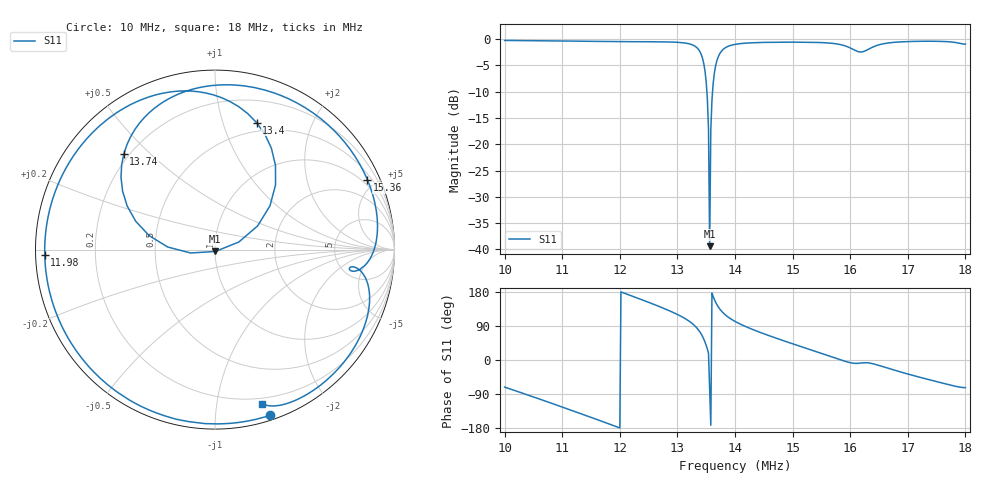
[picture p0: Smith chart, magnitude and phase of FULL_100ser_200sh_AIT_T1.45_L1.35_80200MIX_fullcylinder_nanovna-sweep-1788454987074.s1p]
! NanoVNA Web complex sweep
! Processing: original sample grid, no browser smoothing
# Hz S RI R 50
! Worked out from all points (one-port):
!   401 points, 10 MHz to 18 MHz, reference 50 ohm
!   lowest |S11| = -39.4 dB at 13.56 MHz (marker M1), VSWR 1.02, Z = 50.2 - j1.06 ohm
!   |S11| at or under -10 dB: 13.51 MHz to 13.61 MHz (98.66 kHz wide, 0.728 % of centre)
!   S11 on the Smith chart (normalised r, x): 10 MHz: 0.04, -1.39; 11.98 MHz: 0.03, -0.02; 13.4 MHz: 0.41, +1.30; 13.74 MHz: 0.18, +0.42; 15.36 MHz: 0.74, +4.48; 18 MHz: 0.15, -1.34
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1e7  0.308 -0.9232
1.05e7  -0.1259 -0.9615
1.1e7  -0.5396 -0.7973
1.152e7  -0.8464 -0.4412
1.198e7  -0.9487 -0.0321
1.2e7  -0.9489 -0.0134
1.252e7  -0.8281 0.458
1.3e7  -0.4706 0.8082
1.326e7  -0.0922 0.8795
1.34e7  0.2314 0.7077
1.348e7  0.3373 0.3605
1.35e7  0.3062 0.2437
1.352e7  0.2377 0.1322
1.356e7  0.00192 -0.0106
1.36e7  -0.2632 0.0142
1.362e7  -0.3663 0.0775
1.364e7  -0.4412 0.1572
1.374e7  -0.5082 0.532
1.386e7  -0.3664 0.7629
1.4e7  -0.1844 0.8741
1.442e7  0.2595 0.8936
1.5e7  0.6888 0.637
1.536e7  0.8493 0.3884
1.6e7  0.8197 -0.0997
1.636e7  0.8166 -0.1245
1.7e7  0.7587 -0.5721
1.758e7  0.4752 -0.8269
1.8e7  0.2627 -0.8584
